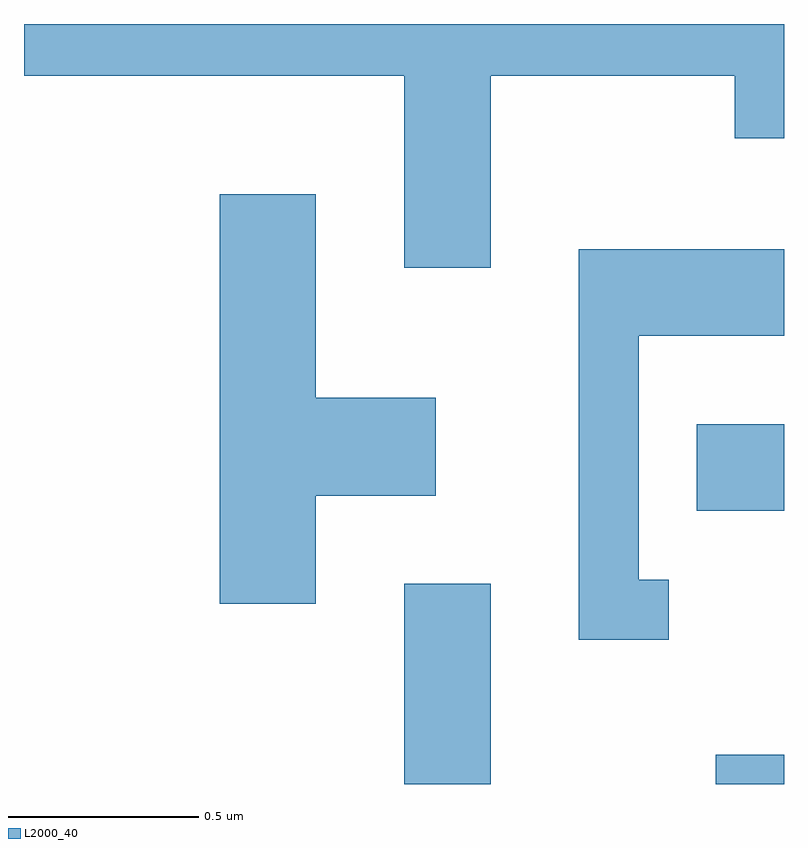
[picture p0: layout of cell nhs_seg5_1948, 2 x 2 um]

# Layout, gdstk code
import gdstk
lib = gdstk.Library(unit=1e-6, precision=1e-09)
def R(c, l, rs):  # rectangles x0, y0, x1, y1
    for r in rs: c.add(gdstk.rectangle(r[:2], r[2:], *l))
def P(c, l, *ps):  # polygons
    for p in ps: c.add(gdstk.Polygon(p, *l))
L2000_40 = (2000, 40)

nhs_seg5_1948 = lib.new_cell('nhs_seg5_1948')
R(nhs_seg5_1948, L2000_40, [(200.611,1426.072,200.839,1426.599), (201.431,1426.072,201.611,1426.149), (201.381,1426.791,201.611,1427.019)])
P(nhs_seg5_1948, L2000_40, [(200.839,1427.936),(201.481,1427.936),(201.481,1427.771),(201.611,1427.771),(201.611,1428.072),(199.611,1428.072),(199.611,1427.936),(200.611,1427.936),(200.611,1427.431),(200.839,1427.431)],
  [(200.379,1426.831),(200.694,1426.831),(200.694,1427.089),(200.379,1427.089),(200.379,1427.624),(200.126,1427.624),(200.126,1426.546),(200.379,1426.546)],
  [(201.308,1426.609),(201.229,1426.609),(201.229,1427.251),(201.611,1427.251),(201.611,1427.479),(201.071,1427.479),(201.071,1426.451),(201.308,1426.451)])

lib.write_gds('nhs_seg5_1948.gds')
